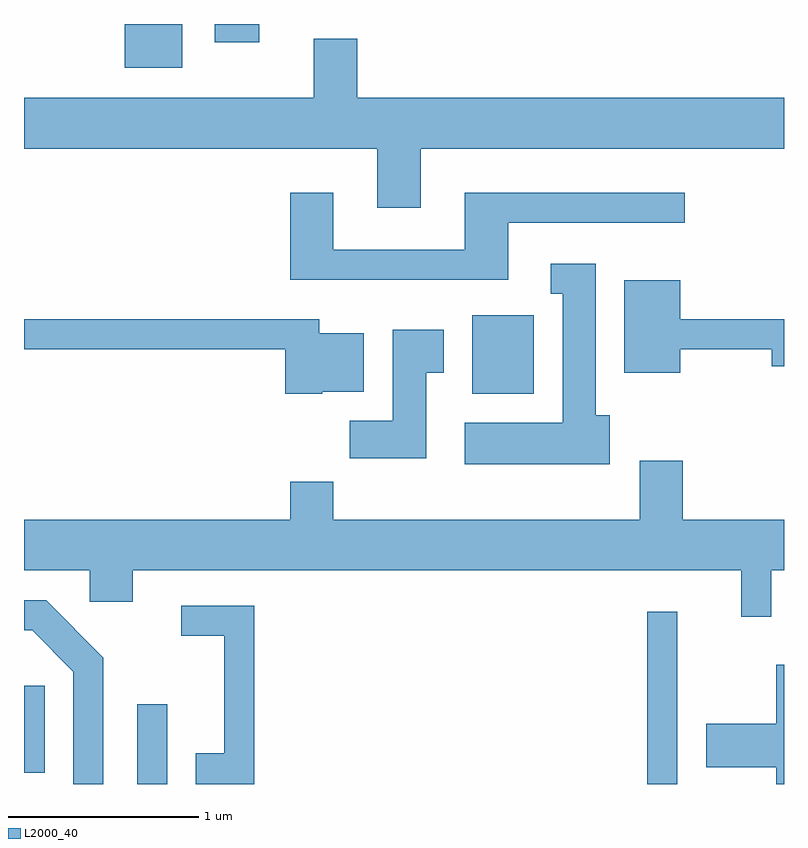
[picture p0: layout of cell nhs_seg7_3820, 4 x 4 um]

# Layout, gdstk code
import gdstk
lib = gdstk.Library(unit=1e-6, precision=1e-09)
def R(c, l, rs):  # rectangles x0, y0, x1, y1
    for r in rs: c.add(gdstk.rectangle(r[:2], r[2:], *l))
def P(c, l, *ps):  # polygons
    for p in ps: c.add(gdstk.Polygon(p, *l))
L2000_40 = (2000, 40)

nhs_seg7_3820 = lib.new_cell('nhs_seg7_3820')
R(nhs_seg7_3820, L2000_40, [(302.206,1764.252,302.364,1764.673), (304.891,1764.252,305.049,1765.158), (301.611,1764.311,301.719,1764.769), (303.971,1766.306,304.294,1766.719), (302.141,1768.021,302.444,1768.252), (302.616,1768.156,302.849,1768.252)])
P(nhs_seg7_3820, L2000_40, [(303.699,1767.596),(305.611,1767.596),(305.611,1767.864),(303.364,1767.864),(303.364,1768.174),(303.136,1768.174),(303.136,1767.864),(301.611,1767.864),(301.611,1767.596),(303.471,1767.596),(303.471,1767.286),(303.699,1767.286)],
  [(304.159,1767.206),(305.088,1767.206),(305.088,1767.364),(303.931,1767.364),(303.931,1767.064),(303.239,1767.064),(303.239,1767.364),(303.011,1767.364),(303.011,1766.906),(304.159,1766.906)],
  [(304.694,1766.194),(304.619,1766.194),(304.619,1766.989),(304.383,1766.989),(304.383,1766.831),(304.446,1766.831),(304.446,1766.154),(303.931,1766.154),(303.931,1765.936),(304.694,1765.936)],
  [(305.064,1766.541),(305.546,1766.541),(305.546,1766.451),(305.611,1766.451),(305.611,1766.699),(305.064,1766.699),(305.064,1766.904),(304.771,1766.904),(304.771,1766.416),(305.064,1766.416)],
  [(303.18,1766.316),(303.399,1766.316),(303.399,1766.624),(303.164,1766.624),(303.164,1766.699),(301.611,1766.699),(301.611,1766.541),(302.986,1766.541),(302.986,1766.306),(303.18,1766.306)],
  [(303.729,1766.416),(303.819,1766.416),(303.819,1766.644),(303.551,1766.644),(303.551,1766.164),(303.326,1766.164),(303.326,1765.966),(303.729,1765.966)],
  [(305.544,1765.376),(305.611,1765.376),(305.611,1765.644),(305.079,1765.644),(305.079,1765.954),(304.851,1765.954),(304.851,1765.644),(303.239,1765.644),(303.239,1765.844),(303.011,1765.844),(303.011,1765.644),(301.611,1765.644),(301.611,1765.376),(301.956,1765.376),(301.956,1765.211),(302.184,1765.211),(302.184,1765.376),(305.386,1765.376),(305.386,1765.133),(305.544,1765.133)],
  [(302.029,1764.917),(301.727,1765.219),(301.611,1765.219),(301.611,1765.061),(301.654,1765.061),(301.871,1764.844),(301.871,1764.252),(302.029,1764.252)],
  [(302.824,1765.189),(302.438,1765.189),(302.438,1765.031),(302.666,1765.031),(302.666,1764.414),(302.516,1764.414),(302.516,1764.252),(302.824,1764.252)],
  [(305.611,1764.879),(305.571,1764.879),(305.571,1764.569),(305.201,1764.569),(305.201,1764.341),(305.571,1764.341),(305.571,1764.252),(305.611,1764.252)])

lib.write_gds('nhs_seg7_3820.gds')
